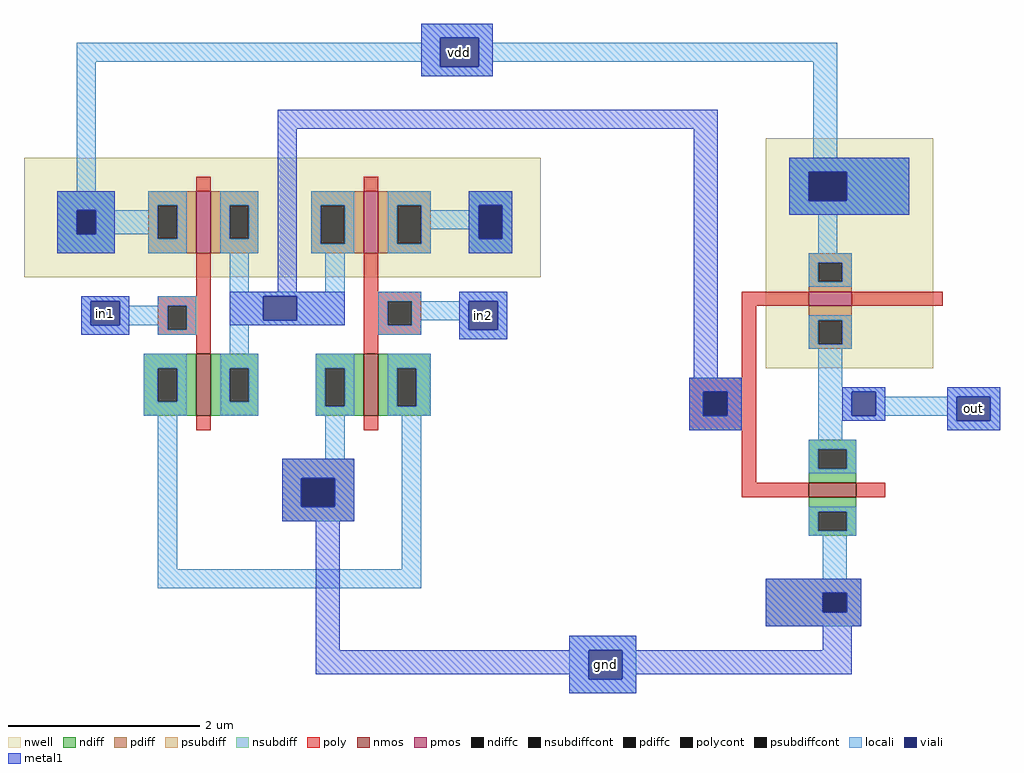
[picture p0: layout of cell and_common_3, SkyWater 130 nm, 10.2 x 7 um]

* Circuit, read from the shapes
.subckt and_common_3 gnd in1 in2 out vdd
XM1 inv2_0/in in1 n1 gnd sky130_fd_pr__nfet_01v8 w=0.65 l=0.15
XM2 n1 in2 gnd gnd sky130_fd_pr__nfet_01v8 w=0.65 l=0.15
XM3 out inv2_0/in gnd gnd sky130_fd_pr__nfet_01v8 w=0.5 l=0.15
XM4 inv2_0/in in1 vdd vdd sky130_fd_pr__pfet_01v8 w=0.65 l=0.15
XM5 vdd in2 inv2_0/in vdd sky130_fd_pr__pfet_01v8 w=0.65 l=0.15
XM6 vdd inv2_0/in out vdd sky130_fd_pr__pfet_01v8 w=0.45 l=0.15
.ends

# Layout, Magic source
magic # THIS IS AND GATE!!
tech sky130A
<< locali >>
rect 415 575 490 590
rect 415 570 435 575
rect 55 550 435 570
rect 55 415 75 550
rect 415 545 435 550
rect 475 570 490 575
rect 475 550 850 570
rect 475 545 490 550
rect 415 535 490 545
rect 825 450 850 550
rect 60 300 110 305
rect 455 300 505 310
rect 60 275 70 300
rect 100 295 110 300
rect 100 275 140 295
rect 415 280 465 300
rect 60 265 110 275
rect 455 270 465 280
rect 495 270 505 300
rect 455 260 505 270
rect 965 200 1020 210
rect 900 180 975 200
rect 965 175 975 180
rect 1010 175 1020 200
rect 965 165 1020 175
rect 570 -65 640 -50
rect 570 -95 590 -65
rect 625 -95 640 -65
rect 570 -110 640 -95
<< viali >>
rect 435 545 475 575
rect 70 275 100 300
rect 465 270 495 300
rect 710 180 735 205
rect 975 175 1010 200
rect 590 -95 625 -65
<< metal1 >>
rect 415 575 490 590
rect 415 545 435 575
rect 475 545 490 575
rect 415 535 490 545
rect 265 480 725 500
rect 265 310 285 480
rect 60 300 110 305
rect 60 275 70 300
rect 100 275 110 300
rect 60 265 110 275
rect 455 300 505 310
rect 455 270 465 300
rect 495 270 505 300
rect 455 260 505 270
rect 700 220 725 480
rect 695 205 750 220
rect 695 180 710 205
rect 735 180 750 205
rect 695 165 750 180
rect 965 200 1020 210
rect 965 175 975 200
rect 1010 175 1020 200
rect 965 165 1020 175
rect 305 -65 330 70
rect 570 -65 640 -50
rect 835 -65 865 -40
rect 305 -90 590 -65
rect 570 -95 590 -90
rect 625 -90 865 -65
rect 625 -95 640 -90
rect 570 -110 640 -95
use inv2  inv2_0
transform 1 0 835 0 1 295
box -140 -335 125 175
use nand  nand_0 /foss/designs/eda/nand
transform 1 0 225 0 1 345
box -225 -345 315 105
<< labels >>
rlabel viali 435 545 475 575 1 vdd
rlabel viali 465 270 495 300 1 in2
rlabel viali 70 275 100 300 1 in1
rlabel viali 590 -95 625 -65 1 gnd
rlabel viali 975 175 1010 200 1 out
<< end >>

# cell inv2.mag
magic
tech sky130A
<< nwell >>
rect -60 -65 115 175
<< nmos >>
rect -15 -200 35 -185
<< pmos >>
rect -15 0 30 15
<< ndiff >>
rect -15 -150 35 -140
rect -15 -170 -5 -150
rect 25 -170 35 -150
rect -15 -185 35 -170
rect -15 -215 35 -200
rect -15 -235 -5 -215
rect 25 -235 35 -215
rect -15 -240 35 -235
<< pdiff >>
rect -15 45 30 55
rect -15 25 -5 45
rect 20 25 30 45
rect -15 15 30 25
rect -15 -15 30 0
rect -15 -40 -5 -15
rect 20 -40 30 -15
rect -15 -45 30 -40
<< ndiffc >>
rect -5 -170 25 -150
rect -5 -235 25 -215
<< pdiffc >>
rect -5 25 20 45
rect -5 -40 20 -15
<< psubdiff >>
rect -60 -300 40 -285
rect -60 -320 0 -300
rect 25 -320 40 -300
rect -60 -335 40 -320
<< nsubdiff >>
rect -35 140 90 155
rect -35 110 -15 140
rect 25 110 90 140
rect -35 95 90 110
<< psubdiffcont >>
rect 0 -320 25 -300
<< nsubdiffcont >>
rect -15 110 25 140
<< poly >>
rect -85 0 -15 15
rect 30 0 125 15
rect -85 -75 -70 0
rect -140 -90 -70 -75
rect -140 -115 -125 -90
rect -100 -115 -70 -90
rect -140 -130 -70 -115
rect -85 -185 -70 -130
rect -85 -200 -15 -185
rect 35 -200 65 -185
<< polycont >>
rect -125 -115 -100 -90
<< locali >>
rect -35 140 90 155
rect -35 110 -15 140
rect 25 110 90 140
rect -35 95 90 110
rect -5 55 15 95
rect -15 45 30 55
rect -15 25 -5 45
rect 20 25 30 45
rect -15 20 30 25
rect -15 -15 30 -10
rect -15 -40 -5 -15
rect 20 -40 30 -15
rect -15 -45 30 -40
rect -140 -90 -85 -75
rect -140 -115 -125 -90
rect -100 -115 -85 -90
rect -140 -130 -85 -115
rect -5 -85 20 -45
rect -5 -90 65 -85
rect -5 -115 30 -90
rect 55 -115 65 -90
rect -5 -120 65 -115
rect -5 -140 20 -120
rect -15 -150 35 -140
rect -15 -170 -5 -150
rect 25 -170 35 -150
rect -15 -175 35 -170
rect -15 -215 35 -210
rect -15 -235 -5 -215
rect 25 -235 35 -215
rect -15 -240 35 -235
rect 0 -285 25 -240
rect -60 -300 40 -285
rect -60 -320 0 -300
rect 25 -320 40 -300
rect -60 -335 40 -320
<< viali >>
rect -15 110 25 140
rect 30 -115 55 -90
rect 0 -320 25 -300
<< metal1 >>
rect -35 140 90 155
rect -35 110 -15 140
rect 25 110 90 140
rect -35 95 90 110
rect 20 -90 65 -85
rect 20 -115 30 -90
rect 55 -115 65 -90
rect 20 -120 65 -115
rect -60 -300 40 -285
rect -60 -320 0 -300
rect 25 -320 40 -300
rect -60 -335 40 -320
<< labels >>
rlabel viali 30 -115 55 -90 1 out
rlabel polycont -125 -115 -100 -90 1 in
rlabel nwell -15 110 25 140 1 vdd
rlabel metal1 0 -320 25 -300 1 gnd
<< end >>

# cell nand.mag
magic #  THIS IS NAND GATE!!
tech sky130A
<< nwell >>
rect -225 -20 315 105
<< nmos >>
rect -45 -165 -30 -100
rect 130 -165 145 -100
<< pmos >>
rect -45 5 -30 70
rect 130 5 145 70
<< ndiff >>
rect -100 -115 -45 -100
rect -100 -150 -85 -115
rect -65 -150 -45 -115
rect -100 -165 -45 -150
rect -30 -115 20 -100
rect -30 -150 -10 -115
rect 10 -150 20 -115
rect -30 -165 20 -150
rect 80 -115 130 -100
rect 80 -155 90 -115
rect 110 -155 130 -115
rect 80 -165 130 -155
rect 145 -115 200 -100
rect 145 -155 165 -115
rect 185 -155 200 -115
rect 145 -165 200 -155
<< pdiff >>
rect -95 55 -45 70
rect -95 20 -85 55
rect -65 20 -45 55
rect -95 5 -45 20
rect -30 55 20 70
rect -30 20 -10 55
rect 10 20 20 55
rect -30 5 20 20
rect 75 55 130 70
rect 75 15 85 55
rect 110 15 130 55
rect 75 5 130 15
rect 145 55 200 70
rect 145 15 165 55
rect 190 15 200 55
rect 145 5 200 15
<< ndiffc >>
rect -85 -150 -65 -115
rect -10 -150 10 -115
rect 90 -155 110 -115
rect 165 -155 185 -115
<< pdiffc >>
rect -85 20 -65 55
rect -10 20 10 55
rect 85 15 110 55
rect 165 15 190 55
<< psubdiff >>
rect 45 -230 120 -210
rect 45 -260 65 -230
rect 100 -260 120 -230
rect 45 -275 120 -260
<< nsubdiff >>
rect -190 50 -130 70
rect -190 25 -170 50
rect -150 25 -130 50
rect -190 5 -130 25
rect 240 55 285 70
rect 240 20 250 55
rect 275 20 285 55
rect 240 5 285 20
<< psubdiffcont >>
rect 65 -260 100 -230
<< nsubdiffcont >>
rect -170 25 -150 50
rect 250 20 275 55
<< poly >>
rect -45 70 -30 85
rect 130 70 145 85
rect -45 -40 -30 5
rect -85 -50 -30 -40
rect -85 -75 -75 -50
rect -55 -75 -30 -50
rect -85 -80 -30 -75
rect -45 -100 -30 -80
rect 130 -35 145 5
rect 130 -45 190 -35
rect 130 -70 155 -45
rect 180 -70 190 -45
rect 130 -80 190 -70
rect 130 -100 145 -80
rect -45 -180 -30 -165
rect 130 -180 145 -165
<< polycont >>
rect -75 -75 -55 -50
rect 155 -70 180 -45
<< locali >>
rect -190 50 -130 70
rect -95 55 -55 70
rect -95 50 -85 55
rect -190 25 -170 50
rect -150 25 -85 50
rect -190 5 -130 25
rect -95 20 -85 25
rect -65 20 -55 55
rect -95 5 -55 20
rect -20 55 20 70
rect -20 20 -10 55
rect 10 20 20 55
rect -20 5 20 20
rect 75 55 120 70
rect 75 15 85 55
rect 110 15 120 55
rect 75 5 120 15
rect 155 55 200 70
rect 155 15 165 55
rect 190 50 200 55
rect 240 55 285 70
rect 240 50 250 55
rect 190 30 250 50
rect 190 15 200 30
rect 155 5 200 15
rect 240 20 250 30
rect 275 20 285 55
rect 240 5 285 20
rect -10 -35 10 5
rect 90 -35 110 5
rect -10 -40 110 -35
rect -85 -50 -45 -40
rect -85 -75 -75 -50
rect -55 -75 -45 -50
rect -85 -80 -45 -75
rect -10 -65 25 -40
rect 60 -65 110 -40
rect -10 -70 110 -65
rect 145 -45 190 -35
rect 145 -70 155 -45
rect 180 -70 190 -45
rect -10 -100 10 -70
rect 145 -80 190 -70
rect -100 -115 -55 -100
rect -100 -150 -85 -115
rect -65 -150 -55 -115
rect -100 -165 -55 -150
rect -20 -115 20 -100
rect -20 -150 -10 -115
rect 10 -150 20 -115
rect -20 -165 20 -150
rect 80 -115 120 -100
rect 80 -155 90 -115
rect 110 -155 120 -115
rect 80 -165 120 -155
rect 155 -115 200 -100
rect 155 -155 165 -115
rect 185 -155 200 -115
rect 155 -165 200 -155
rect -85 -325 -65 -165
rect 90 -210 110 -165
rect 45 -230 120 -210
rect 45 -260 65 -230
rect 100 -260 120 -230
rect 45 -275 120 -260
rect 170 -325 190 -165
rect -85 -345 190 -325
<< viali >>
rect -170 25 -150 50
rect 250 20 275 55
rect 25 -65 60 -40
rect 65 -260 100 -230
<< metal1 >>
rect -190 50 -130 70
rect -190 25 -170 50
rect -150 25 -130 50
rect -190 5 -130 25
rect 240 55 285 70
rect 240 20 250 55
rect 275 20 285 55
rect 240 5 285 20
rect -10 -40 110 -35
rect -10 -65 25 -40
rect 60 -65 110 -40
rect -10 -70 110 -65
rect 45 -230 120 -210
rect 45 -260 65 -230
rect 100 -260 120 -230
rect 45 -275 120 -260
<< labels >>
rlabel polycont -75 -75 -55 -50 1 in1
rlabel polycont 155 -70 180 -45 1 in2
rlabel metal1 65 -260 100 -230 1 gnd
rlabel nwell -170 25 -150 50 1 vcc
rlabel nwell 250 20 275 55 1 vcc
rlabel viali 25 -65 60 -40 1 out
<< end >>
